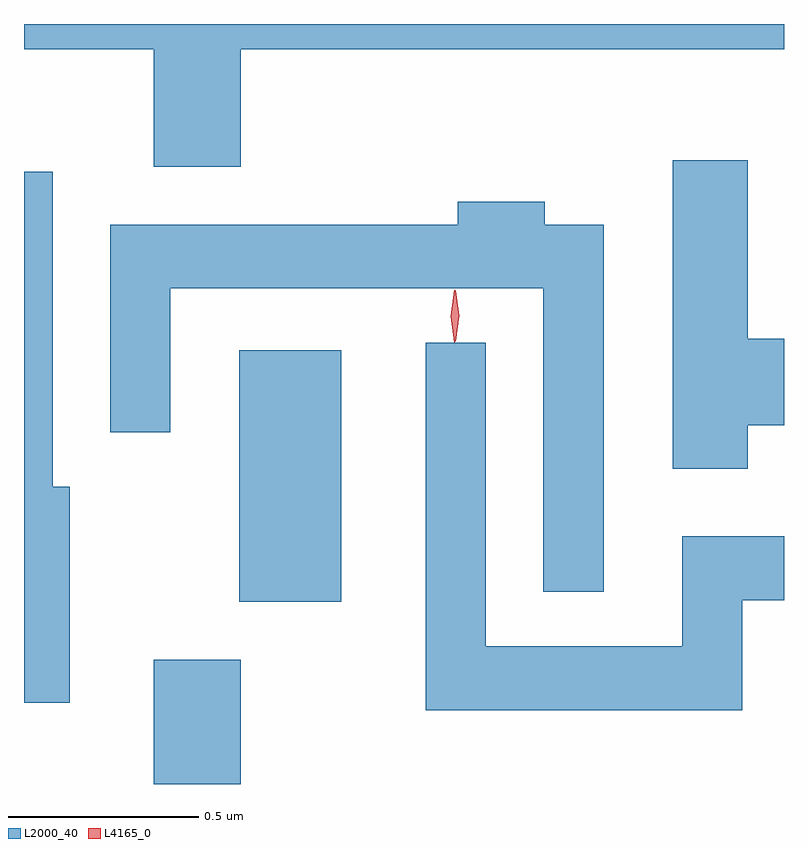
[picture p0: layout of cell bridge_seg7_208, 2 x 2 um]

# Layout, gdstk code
import gdstk
lib = gdstk.Library(unit=1e-6, precision=1e-09)
def R(c, l, rs):  # rectangles x0, y0, x1, y1
    for r in rs: c.add(gdstk.rectangle(r[:2], r[2:], *l))
def P(c, l, *ps):  # polygons
    for p in ps: c.add(gdstk.Polygon(p, *l))
L2000_40 = (2000, 40)
L4165_0 = (4165, 0)

bridge_seg7_208 = lib.new_cell('bridge_seg7_208')
R(bridge_seg7_208, L2000_40, [(1482.291,1714.602,1482.519,1714.929), (1482.516,1715.081,1482.784,1715.744)])
P(bridge_seg7_208, L2000_40, [(1482.519,1716.536),(1483.949,1716.536),(1483.949,1716.602),(1481.949,1716.602),(1481.949,1716.536),(1482.291,1716.536),(1482.291,1716.226),(1482.519,1716.226)],
  [(1483.854,1715.546),(1483.949,1715.546),(1483.949,1715.774),(1483.854,1715.774),(1483.854,1716.244),(1483.656,1716.244),(1483.656,1715.431),(1483.854,1715.431)],
  [(1482.069,1715.384),(1482.024,1715.384),(1482.024,1716.213),(1481.949,1716.213),(1481.949,1714.816),(1482.069,1714.816)],
  [(1483.474,1716.074),(1483.319,1716.074),(1483.319,1716.134),(1483.091,1716.134),(1483.091,1716.074),(1482.176,1716.074),(1482.176,1715.528),(1482.334,1715.528),(1482.334,1715.906),(1483.316,1715.906),(1483.316,1715.108),(1483.474,1715.108)],
  [(1483.839,1715.086),(1483.949,1715.086),(1483.949,1715.254),(1483.681,1715.254),(1483.681,1714.964),(1483.164,1714.964),(1483.164,1715.763),(1483.006,1715.763),(1483.006,1714.796),(1483.839,1714.796)])
P(bridge_seg7_208, L4165_0, [(1483.082,1715.763),(1483.081,1715.764),(1483.072,1715.833),(1483.081,1715.902),(1483.082,1715.903),(1483.082,1715.902),(1483.092,1715.833),(1483.082,1715.764)],
  [(1483.084,1715.767),(1483.075,1715.834),(1483.084,1715.9),(1483.085,1715.901),(1483.085,1715.9),(1483.095,1715.834),(1483.085,1715.767),(1483.085,1715.767)])

lib.write_gds('bridge_seg7_208.gds')
